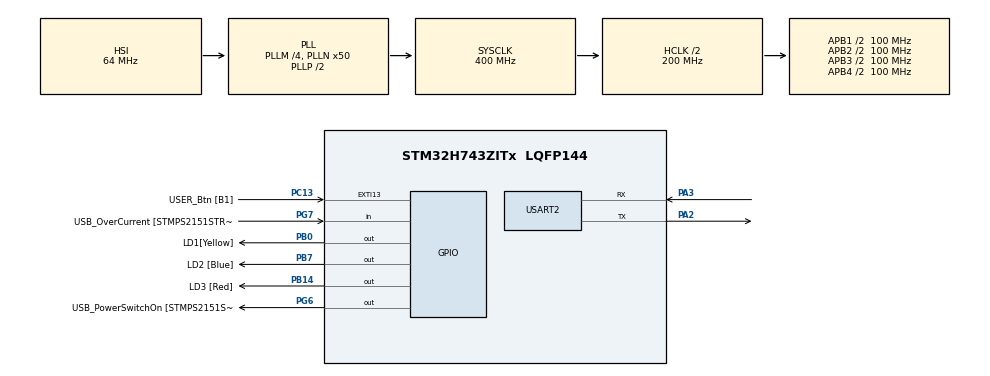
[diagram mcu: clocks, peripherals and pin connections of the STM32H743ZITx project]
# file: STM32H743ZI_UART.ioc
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Mcu.Family=STM32H7
Mcu.Name=STM32H743ZITx
Mcu.Package=LQFP144
NVIC.PriorityGroup=NVIC_PRIORITYGROUP_4
NVIC.USART2_IRQn=true\:0\:0\:false\:false\:true\:true
PA10.GPIO_Label=USB_ID
PA10.Signal=USB_OTG_FS_ID
PA11.GPIO_Label=USB_DM
PA11.Signal=USB_OTG_FS_DM
PA12.GPIO_Label=USB_DP
PA12.Signal=USB_OTG_FS_DP
PA13.GPIO_Label=TMS
PA13.Mode=Serial_Wire
PA13.Signal=SYS_JTMS-SWDIO
PA14.GPIO_Label=TCK
PA14.Mode=Serial_Wire
PA14.Signal=SYS_JTCK-SWCLK
PA2.Mode=Asynchronous
PA2.Signal=USART2_TX
PA3.Mode=Asynchronous
PA3.Signal=USART2_RX
PA8.GPIO_Label=USB_SOF [TP1]
PA8.Signal=USB_OTG_FS_SOF
PA9.GPIO_Label=USB_VBUS
PA9.Signal=USB_OTG_FS_VBUS
PB0.GPIO_Label=LD1[Yellow]
PB0.Signal=GPIO_Output
PB14.GPIO_Label=LD3 [Red]
PB14.Signal=GPIO_Output
PB3.GPIO_Label=SWO
PB3.Signal=SYS_JTDO-SWO
PB7.GPIO_Label=LD2 [Blue]
PB7.Signal=GPIO_Output
PC13.GPIO_Label=USER_Btn [B1]
PC13.Signal=GPXTI13
PC14-OSC32_IN.Signal=RCC_OSC32_IN
PC15-OSC32_OUT.Signal=RCC_OSC32_OUT
PD8.GPIO_Label=STLK_RX [STM32F103CBT6_PA3]
PD8.Signal=USART3_TX
PD9.GPIO_Label=STLK_TX [STM32F103CBT6_PA2]
PD9.Signal=USART3_RX
PG6.GPIO_Label=USB_PowerSwitchOn [STMPS2151STR_EN]
PG6.Signal=GPIO_Output
PG7.GPIO_Label=USB_OverCurrent [STMPS2151STR_FAULT]
PG7.Signal=GPIO_Input
PH0-OSC_IN.GPIO_Label=MCO
PH0-OSC_IN.Mode=HSE-External-Oscillator
PH0-OSC_IN.Signal=RCC_OSC_IN
PH1-OSC_OUT.Mode=HSE-External-Oscillator
PH1-OSC_OUT.Signal=RCC_OSC_OUT
ProjectManager.HeapSize=0x200
ProjectManager.StackSize=0x400
ProjectManager.TargetToolchain=MDK-ARM V5
RCC.48MHZClocksFreq_Value=24000000
RCC.ADCFreq_Value=129000000
RCC.AHBFreq_Value=16000000
RCC.APB1CLKDivider=RCC_HCLK_DIV2
RCC.APB1Freq_Value=100000000
RCC.APB1TimFreq_Value=16000000
RCC.APB2Freq_Value=100000000
RCC.APB2TimFreq_Value=16000000
RCC.APB3Freq_Value=100000000
RCC.APB4Freq_Value=100000000
RCC.CortexFreq_Value=400000000
RCC.D1PPRE=RCC_APB3_DIV2
RCC.D2PPRE1=RCC_APB1_DIV2
RCC.D2PPRE2=RCC_APB2_DIV2
RCC.D3PPRE=RCC_APB4_DIV2
RCC.DIVM1=4
RCC.DIVN1=50
RCC.HCLKFreq_Value=200000000
RCC.HPRE=RCC_HCLK_DIV2
RCC.HSE_VALUE=25000000
RCC.HSI_VALUE=64000000
RCC.LSE_VALUE=32768
RCC.PLLMUL=RCC_PLL_MUL9
RCC.PRESCALERUSB=RCC_USBCLKSOURCE_PLL_DIV1_5
RCC.SYSCLKFreq_VALUE=400000000
RCC.SYSCLKSource=RCC_SYSCLKSOURCE_PLLCLK
RCC.SYSCLKSourceVirtual=RCC_SYSCLKSOURCE_PLLCLK
RCC.USBFreq_Value=400000000
RCC.VCOOutputFreq_Value=192000000
USART2.VirtualMode-Asynchronous=VM_ASYNC
USART2.WordLength=WORDLENGTH_8B
board=NUCLEO-H743ZI

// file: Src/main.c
/**
  ******************************************************************************
  * File Name          : main.c
  * Description        : Main program body
  ******************************************************************************
  ** This notice applies to any and all portions of this file
  * that are not between comment pairs USER CODE BEGIN and
  * USER CODE END. Other portions of this file, whether
  * inserted by the user or by software development tools
  * are owned by their respective copyright owners.
  *
  * COPYRIGHT(c) 2019 STMicroelectronics
  *
  * Redistribution and use in source and binary forms, with or without modification,
  * are permitted provided that the following conditions are met:
  *   1. Redistributions of source code must retain the above copyright notice,
  *      this list of conditions and the following disclaimer.
  *   2. Redistributions in binary form must reproduce the above copyright notice,
  *      this list of conditions and the following disclaimer in the documentation
  *      and/or other materials provided with the distribution.
  *   3. Neither the name of STMicroelectronics nor the names of its contributors
  *      may be used to endorse or promote products derived from this software
  *      without specific prior written permission.
  *
  * THIS SOFTWARE IS PROVIDED BY THE COPYRIGHT HOLDERS AND CONTRIBUTORS "AS IS"
  * AND ANY EXPRESS OR IMPLIED WARRANTIES, INCLUDING, BUT NOT LIMITED TO, THE
  * IMPLIED WARRANTIES OF MERCHANTABILITY AND FITNESS FOR A PARTICULAR PURPOSE ARE
  * DISCLAIMED. IN NO EVENT SHALL THE COPYRIGHT HOLDER OR CONTRIBUTORS BE LIABLE
  * FOR ANY DIRECT, INDIRECT, INCIDENTAL, SPECIAL, EXEMPLARY, OR CONSEQUENTIAL
  * DAMAGES (INCLUDING, BUT NOT LIMITED TO, PROCUREMENT OF SUBSTITUTE GOODS OR
  * SERVICES; LOSS OF USE, DATA, OR PROFITS; OR BUSINESS INTERRUPTION) HOWEVER
  * CAUSED AND ON ANY THEORY OF LIABILITY, WHETHER IN CONTRACT, STRICT LIABILITY,
  * OR TORT (INCLUDING NEGLIGENCE OR OTHERWISE) ARISING IN ANY WAY OUT OF THE USE
  * OF THIS SOFTWARE, EVEN IF ADVISED OF THE POSSIBILITY OF SUCH DAMAGE.
  *
  ******************************************************************************
  */
#include "main.h"
#include "stm32h7xx_hal.h"

/* USER CODE BEGIN Includes */
#include "typedef.h"
#include "task_boot.h"
// #include "task_led.h"
/* USER CODE END Includes */

UART_HandleTypeDef huart2;

/* USER CODE BEGIN PV */
/* Private variables ---------------------------------------------------------*/

/* USER CODE END PV */

void SystemClock_Config(void);
static void MX_GPIO_Init(void);
static void MX_USART2_UART_Init(void);

/* USER CODE BEGIN PFP */
/* Private function prototypes -----------------------------------------------*/
SYSFlag sys;

extern void TASK_LED_INIT(void);
extern void TASK_LED(void);
extern void TASK_UART_INIT(void);
extern void TASK_UART(void);
/* USER CODE END PFP */

/* USER CODE BEGIN 0 */
// --------------------------------------------------------------
#define PUTCHAR_PROTOTYPE int fputc(int ch, FILE *f)
PUTCHAR_PROTOTYPE
{
    HAL_UART_Transmit(&huart2, (uint8_t *)&ch, 1, 0xFFFF);
    return ch;
}
//---------------------------------------------------------------
// run in task_boot.c
void ALL_STACK_INIT(void)
{
    TASK_LED_INIT();
    TASK_UART_INIT();
}
//---------------------------------------------------------------
/* USER CODE END 0 */

int main(void)
{

    /* MCU Configuration----------------------------------------------------------*/

    /* Reset of all peripherals, Initializes the Flash interface and the Systick. */
    HAL_Init();

    /* Configure the system clock */
    SystemClock_Config();

    /* USER CODE BEGIN SysInit */
    // Change SysTick frequency
    HAL_SYSTICK_Config(SystemCoreClock / 10000); // (1 sec / 10000) = 0.1ms = 100us
    /* USER CODE END SysInit */

    /* Initialize all configured peripherals */
    MX_GPIO_Init();
    MX_USART2_UART_Init();

    /* USER CODE BEGIN 2 */
    // __HAL_UART_ENABLE_IT(&huart2, UART_IT_TC);  // don't enable UART Tx interrupt
    __HAL_UART_ENABLE_IT(&huart2, UART_IT_RXNE);
    TASK_BOOT_INIT();
    sys.f.TASK_BOOT_GO = 1;
    /* USER CODE END 2 */

    /* Infinite loop */
    while (1)
    {

        /* USER CODE BEGIN 3 */
        TASK_BOOT();
        TASK_LED();
        TASK_UART();
    }
    /* USER CODE END 3 */
}

/** System Clock Configuration
*/
void SystemClock_Config(void)
{

    RCC_OscInitTypeDef RCC_OscInitStruct;
    RCC_ClkInitTypeDef RCC_ClkInitStruct;
    RCC_PeriphCLKInitTypeDef PeriphClkInitStruct;

    /**Supply configuration update enable
    */
    MODIFY_REG(PWR->CR3, PWR_CR3_SCUEN, 0);

    /**Configure the main internal regulator output voltage
    */
    __HAL_PWR_VOLTAGESCALING_CONFIG(PWR_REGULATOR_VOLTAGE_SCALE1);

    while ((PWR->D3CR & (PWR_D3CR_VOSRDY)) != PWR_D3CR_VOSRDY)
    {
    }
    /**Initializes the CPU, AHB and APB busses clocks
    */
    RCC_OscInitStruct.OscillatorType = RCC_OSCILLATORTYPE_HSI;
    RCC_OscInitStruct.HSIState = RCC_HSI_DIV1;
    RCC_OscInitStruct.HSICalibrationValue = 16;
    RCC_OscInitStruct.PLL.PLLState = RCC_PLL_ON;
    RCC_OscInitStruct.PLL.PLLSource = RCC_PLLSOURCE_HSI;
    RCC_OscInitStruct.PLL.PLLM = 4;
    RCC_OscInitStruct.PLL.PLLN = 50;
    RCC_OscInitStruct.PLL.PLLP = 2;
    RCC_OscInitStruct.PLL.PLLQ = 2;
    RCC_OscInitStruct.PLL.PLLR = 2;
    RCC_OscInitStruct.PLL.PLLRGE = RCC_PLL1VCIRANGE_3;
    RCC_OscInitStruct.PLL.PLLVCOSEL = RCC_PLL1VCOWIDE;
    RCC_OscInitStruct.PLL.PLLFRACN = 0;
    if (HAL_RCC_OscConfig(&RCC_OscInitStruct) != HAL_OK)
    {
        _Error_Handler(__FILE__, __LINE__);
    }

    /**Initializes the CPU, AHB and APB busses clocks
    */
    RCC_ClkInitStruct.ClockType = RCC_CLOCKTYPE_HCLK | RCC_CLOCKTYPE_SYSCLK | RCC_CLOCKTYPE_PCLK1 | RCC_CLOCKTYPE_PCLK2 | RCC_CLOCKTYPE_D3PCLK1 | RCC_CLOCKTYPE_D1PCLK1;
    RCC_ClkInitStruct.SYSCLKSource = RCC_SYSCLKSOURCE_PLLCLK;
    RCC_ClkInitStruct.SYSCLKDivider = RCC_SYSCLK_DIV1;
    RCC_ClkInitStruct.AHBCLKDivider = RCC_HCLK_DIV2;
    RCC_ClkInitStruct.APB3CLKDivider = RCC_APB3_DIV2;
    RCC_ClkInitStruct.APB1CLKDivider = RCC_APB1_DIV2;
    RCC_ClkInitStruct.APB2CLKDivider = RCC_APB2_DIV2;
    RCC_ClkInitStruct.APB4CLKDivider = RCC_APB4_DIV2;

    if (HAL_RCC_ClockConfig(&RCC_ClkInitStruct, FLASH_LATENCY_2) != HAL_OK)
    {
        _Error_Handler(__FILE__, __LINE__);
    }

    PeriphClkInitStruct.PeriphClockSelection = RCC_PERIPHCLK_USART2;
    PeriphClkInitStruct.Usart234578ClockSelection = RCC_USART234578CLKSOURCE_D2PCLK1;
    if (HAL_RCCEx_PeriphCLKConfig(&PeriphClkInitStruct) != HAL_OK)
    {
        _Error_Handler(__FILE__, __LINE__);
    }

    /**Configure the Systick interrupt time
    */
    HAL_SYSTICK_Config(SystemCoreClock / 1000);

    /**Configure the Systick
    */
    HAL_SYSTICK_CLKSourceConfig(SYSTICK_CLKSOURCE_HCLK);

    /* SysTick_IRQn interrupt configuration */
    HAL_NVIC_SetPriority(SysTick_IRQn, 0, 0);
}

/* USART2 init function */
static void MX_USART2_UART_Init(void)
{

    huart2.Instance = USART2;
    huart2.Init.BaudRate = 115200;
    huart2.Init.WordLength = UART_WORDLENGTH_8B;
    huart2.Init.StopBits = UART_STOPBITS_1;
    huart2.Init.Parity = UART_PARITY_NONE;
    huart2.Init.Mode = UART_MODE_TX_RX;
    huart2.Init.HwFlowCtl = UART_HWCONTROL_NONE;
    huart2.Init.OverSampling = UART_OVERSAMPLING_16;
    huart2.Init.OneBitSampling = UART_ONE_BIT_SAMPLE_DISABLE;
    huart2.Init.Prescaler = UART_PRESCALER_DIV1;
    huart2.Init.FIFOMode = UART_FIFOMODE_DISABLE;
    huart2.Init.TXFIFOThreshold = UART_TXFIFO_THRESHOLD_1_8;
    huart2.Init.RXFIFOThreshold = UART_RXFIFO_THRESHOLD_1_8;
    huart2.AdvancedInit.AdvFeatureInit = UART_ADVFEATURE_NO_INIT;
    if (HAL_UART_Init(&huart2) != HAL_OK)
    {
        _Error_Handler(__FILE__, __LINE__);
    }
}

/** Configure pins as
        * Analog
        * Input
        * Output
        * EVENT_OUT
        * EXTI
     PD8   ------> USART3_TX
     PD9   ------> USART3_RX
     PA8   ------> USB_OTG_FS_SOF
     PA10   ------> USB_OTG_FS_ID
     PA11   ------> USB_OTG_FS_DM
     PA12   ------> USB_OTG_FS_DP
*/
static void MX_GPIO_Init(void)
{

    GPIO_InitTypeDef GPIO_InitStruct;

    /* GPIO Ports Clock Enable */
    __HAL_RCC_GPIOC_CLK_ENABLE();
    __HAL_RCC_GPIOH_CLK_ENABLE();
    __HAL_RCC_GPIOA_CLK_ENABLE();
    __HAL_RCC_GPIOB_CLK_ENABLE();
    __HAL_RCC_GPIOD_CLK_ENABLE();
    __HAL_RCC_GPIOG_CLK_ENABLE();

    /*Configure GPIO pin : USER_Btn_Pin */
    GPIO_InitStruct.Pin = USER_Btn_Pin;
    GPIO_InitStruct.Mode = GPIO_MODE_IT_RISING;
    GPIO_InitStruct.Pull = GPIO_NOPULL;
    HAL_GPIO_Init(USER_Btn_GPIO_Port, &GPIO_InitStruct);

    /*Configure GPIO pins : LD1_Pin LD3_Pin LD2_Pin */
    GPIO_InitStruct.Pin = LD1_Pin | LD3_Pin | LD2_Pin;
    GPIO_InitStruct.Mode = GPIO_MODE_OUTPUT_PP;
    GPIO_InitStruct.Pull = GPIO_NOPULL;
    GPIO_InitStruct.Speed = GPIO_SPEED_FREQ_LOW;
    HAL_GPIO_Init(GPIOB, &GPIO_InitStruct);

    /*Configure GPIO pins : STLK_RX_Pin STLK_TX_Pin */
    GPIO_InitStruct.Pin = STLK_RX_Pin | STLK_TX_Pin;
    GPIO_InitStruct.Mode = GPIO_MODE_AF_PP;
    GPIO_InitStruct.Pull = GPIO_NOPULL;
    GPIO_InitStruct.Speed = GPIO_SPEED_FREQ_LOW;
    GPIO_InitStruct.Alternate = GPIO_AF7_USART3;
    HAL_GPIO_Init(GPIOD, &GPIO_InitStruct);

    /*Configure GPIO pin : USB_PowerSwitchOn_Pin */
    GPIO_InitStruct.Pin = USB_PowerSwitchOn_Pin;
    GPIO_InitStruct.Mode = GPIO_MODE_OUTPUT_PP;
    GPIO_InitStruct.Pull = GPIO_NOPULL;
    GPIO_InitStruct.Speed = GPIO_SPEED_FREQ_LOW;
    HAL_GPIO_Init(USB_PowerSwitchOn_GPIO_Port, &GPIO_InitStruct);

    /*Configure GPIO pin : USB_OverCurrent_Pin */
    GPIO_InitStruct.Pin = USB_OverCurrent_Pin;
    GPIO_InitStruct.Mode = GPIO_MODE_INPUT;
    GPIO_InitStruct.Pull = GPIO_NOPULL;
    HAL_GPIO_Init(USB_OverCurrent_GPIO_Port, &GPIO_InitStruct);

    /*Configure GPIO pins : USB_SOF_Pin USB_ID_Pin USB_DM_Pin USB_DP_Pin */
    GPIO_InitStruct.Pin = USB_SOF_Pin | USB_ID_Pin | USB_DM_Pin | USB_DP_Pin;
    GPIO_InitStruct.Mode = GPIO_MODE_AF_PP;
    GPIO_InitStruct.Pull = GPIO_NOPULL;
    GPIO_InitStruct.Speed = GPIO_SPEED_FREQ_LOW;
    GPIO_InitStruct.Alternate = GPIO_AF10_OTG1_FS;
    HAL_GPIO_Init(GPIOA, &GPIO_InitStruct);
}

void _Error_Handler(char *file, int line)
{
    while (1)
    {
    }
}

/************************ (C) COPYRIGHT STMicroelectronics *****END OF FILE****/
